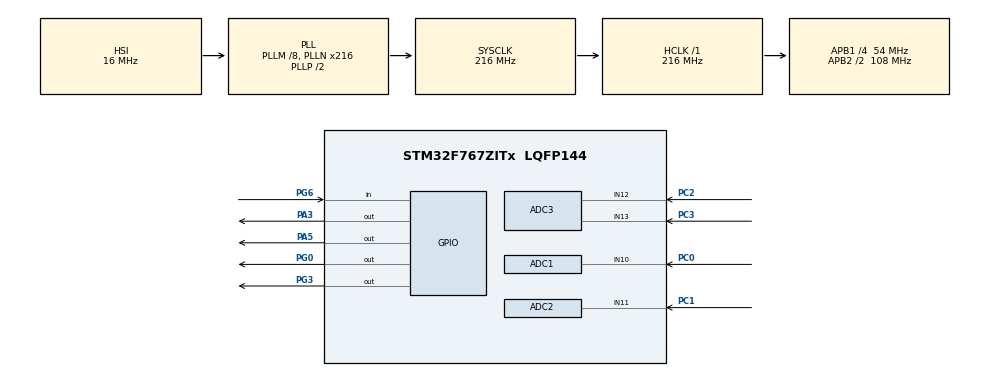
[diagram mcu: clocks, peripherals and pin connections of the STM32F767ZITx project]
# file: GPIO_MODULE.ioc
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ADC1.Channel-0\#ChannelRegularConversion=ADC_CHANNEL_10
ADC1.ClockPrescaler=ADC_CLOCK_SYNC_PCLK_DIV4
ADC1.NbrOfConversionFlag=1
ADC1.Rank-0\#ChannelRegularConversion=1
ADC1.SamplingTime-0\#ChannelRegularConversion=ADC_SAMPLETIME_3CYCLES
ADC1.master=1
ADC2.Channel-0\#ChannelRegularConversion=ADC_CHANNEL_11
ADC2.ClockPrescaler=ADC_CLOCK_SYNC_PCLK_DIV4
ADC2.NbrOfConversionFlag=1
ADC2.Rank-0\#ChannelRegularConversion=1
ADC2.SamplingTime-0\#ChannelRegularConversion=ADC_SAMPLETIME_3CYCLES
ADC3.Channel-0\#ChannelRegularConversion=ADC_CHANNEL_12
ADC3.ClockPrescaler=ADC_CLOCK_SYNC_PCLK_DIV4
ADC3.NbrOfConversionFlag=1
ADC3.Rank-0\#ChannelRegularConversion=1
ADC3.SamplingTime-0\#ChannelRegularConversion=ADC_SAMPLETIME_3CYCLES
Mcu.Family=STM32F7
Mcu.Name=STM32F767ZITx
Mcu.Package=LQFP144
NVIC.PriorityGroup=NVIC_PRIORITYGROUP_4
PA3.GPIO_ModeDefaultOutputPP=GPIO_MODE_OUTPUT_PP
PA3.PinState=GPIO_PIN_SET
PA3.Signal=GPIO_Output
PA5.PinState=GPIO_PIN_SET
PA5.Signal=GPIO_Output
PC0.Signal=ADCx_IN10
PC1.Signal=ADCx_IN11
PC2.Signal=ADCx_IN12
PC3.Signal=ADCx_IN13
PG0.PinState=GPIO_PIN_SET
PG0.Signal=GPIO_Output
PG3.PinState=GPIO_PIN_RESET
PG3.Signal=GPIO_Output
PG6.Signal=GPIO_Input
ProjectManager.HeapSize=0x200
ProjectManager.StackSize=0x400
ProjectManager.TargetToolchain=STM32CubeIDE
RCC.AHBFreq_Value=216000000
RCC.APB1CLKDivider=RCC_HCLK_DIV4
RCC.APB1Freq_Value=54000000
RCC.APB1TimFreq_Value=108000000
RCC.APB2CLKDivider=RCC_HCLK_DIV2
RCC.APB2Freq_Value=108000000
RCC.APB2TimFreq_Value=216000000
RCC.CortexFreq_Value=216000000
RCC.HCLKFreq_Value=216000000
RCC.HSE_VALUE=25000000
RCC.HSI_VALUE=16000000
RCC.LSE_VALUE=32768
RCC.PLLM=8
RCC.PLLN=216
RCC.SYSCLKFreq_VALUE=216000000
RCC.SYSCLKSource=RCC_SYSCLKSOURCE_PLLCLK
RCC.USBFreq_Value=216000000
RCC.VCOOutputFreq_Value=432000000
SH.ADCx_IN10.0=ADC1_IN10,IN10
SH.ADCx_IN11.0=ADC2_IN11,IN11
SH.ADCx_IN12.0=ADC3_IN12,IN12
SH.ADCx_IN13.0=ADC3_IN13,IN13
TIM10.Period=10000-1
TIM10.Prescaler=21600-1
VP_TIM10_VS_ClockSourceINT.Mode=Enable_Timer
board=custom

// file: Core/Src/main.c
/* USER CODE BEGIN Header */
/**
  ******************************************************************************
  * @file           : main.c
  * @brief          : Main program body
  ******************************************************************************
  * @attention
  *
  * Copyright (c) 2022 STMicroelectronics.
  * All rights reserved.
  *
  * This software is licensed under terms that can be found in the LICENSE file
  * in the root directory of this software component.
  * If no LICENSE file comes with this software, it is provided AS-IS.
  *
  ******************************************************************************
  */
/* USER CODE END Header */
#include "main.h"

/* USER CODE BEGIN PM */
#define HIGH 5
#define LOW 0

#define START_BUTTON_PORT GPIOG // Active Low
#define START_BUTTON_PIN GPIO_PIN_6

#define START_BUTTON_LED_EN_PORT GPIOA
#define START_BUTTON_LED_EN_PIN GPIO_PIN_5

#define BRAKE_LIGHT_PORT GPIOF
#define BRAKE_LIGHT_PIN GPIO_PIN_2

#define DEBUG_LED_PORT GPIOA
#define DEBUG_LED_PIN GPIO_PIN_3

#define START_SOUND_PORT GPIOG
#define START_SOUND_PIN GPIO_PIN_3
#define SOUND_TIME 3 // sound time in seconds
/* USER CODE END PM */

 ADC_HandleTypeDef hadc1;
ADC_HandleTypeDef hadc2;
ADC_HandleTypeDef hadc3;

TIM_HandleTypeDef htim10;

/* USER CODE BEGIN PV */
int timecount = 0;
int sound_time = SOUND_TIME;
/* USER CODE END PV */

void SystemClock_Config(void);
static void MX_GPIO_Init(void);
static void MX_ADC1_Init(void);
static void MX_ADC2_Init(void);
static void MX_ADC3_Init(void);
static void MX_TIM10_Init(void);
/* USER CODE BEGIN PFP */
int Start_Button(void); //input
int Start_LED(void); // output
int Brake_Light(void); // output
int Debug_LED(void); // output
void Start_Sound(void); // output

int *All_GPIO_Connections(void);
void Set_GPIO_Connections(int start_led, int brake_light, int debug_led);
/* USER CODE END PFP */

/* USER CODE BEGIN 0 */
int Start_Button(void)
{
	if( HAL_GPIO_ReadPin(START_BUTTON_PORT, START_BUTTON_PIN)) return LOW;
	else return HIGH;
}

int Start_LED(void)
{
	if( HAL_GPIO_ReadPin(START_BUTTON_LED_EN_PORT, START_BUTTON_LED_EN_PIN)) return HIGH;
	else return LOW;
}

int Brake_Light(void)
{
	if( HAL_GPIO_ReadPin(BRAKE_LIGHT_PORT, BRAKE_LIGHT_PIN)) return HIGH;
	else return LOW;
}

int Debug_LED(void)
{
	if( HAL_GPIO_ReadPin(DEBUG_LED_PORT, DEBUG_LED_PIN)) return HIGH;
	else return LOW;
}

int *All_GPIO_Connections(void) // creates pointer to array that contains all 3 GPIO input values
{
	int *vals = malloc(4);

	vals[0] = Start_Button();
	vals[1] = Start_LED();
	vals[2] = Brake_Light();
	vals[3] = Debug_LED();

	return vals;
}

void Set_GPIO_Connections(int start_led, int brake_light, int debug_led) // 1 is set, 0 is reset, 2 is do nothing (can be anything but I picked 2 to avoid ambiguity)
{
	if (start_led == 1) HAL_GPIO_WritePin (START_BUTTON_LED_EN_PORT, START_BUTTON_LED_EN_PIN, GPIO_PIN_SET);
	else if (start_led == 0) HAL_GPIO_WritePin (START_BUTTON_LED_EN_PORT, START_BUTTON_LED_EN_PIN, GPIO_PIN_RESET);
	else if (start_led == 2);

	if (brake_light == 1) HAL_GPIO_WritePin (BRAKE_LIGHT_PORT, BRAKE_LIGHT_PIN, GPIO_PIN_SET);
	else if (brake_light == 0) HAL_GPIO_WritePin (BRAKE_LIGHT_PORT, BRAKE_LIGHT_PIN, GPIO_PIN_RESET);
	else if (brake_light == 2);

	if (debug_led == 1) HAL_GPIO_WritePin (DEBUG_LED_PORT, DEBUG_LED_PIN, GPIO_PIN_SET);
	else if (debug_led == 0) HAL_GPIO_WritePin (DEBUG_LED_PORT, DEBUG_LED_PIN, GPIO_PIN_RESET);
	else if (debug_led == 2);
}

void Start_Sound(void)
{
	timecount = 0;
	HAL_GPIO_WritePin(START_SOUND_PORT, START_SOUND_PIN, GPIO_PIN_SET);
}
/* USER CODE END 0 */

int main(void)
{

  /* MCU Configuration--------------------------------------------------------*/

  /* Reset of all peripherals, Initializes the Flash interface and the Systick. */
  HAL_Init();

  /* Configure the system clock */
  SystemClock_Config();

  /* Initialize all configured peripherals */
  MX_GPIO_Init();
  MX_ADC1_Init();
  MX_ADC2_Init();
  MX_ADC3_Init();
  MX_TIM10_Init();
  /* USER CODE BEGIN 2 */
HAL_TIM_Base_Start_IT(&htim10);
  /* USER CODE END 2 */

  /* Infinite loop */
  while (1)
  {

  }
}

void SystemClock_Config(void)
{
  RCC_OscInitTypeDef RCC_OscInitStruct = {0};
  RCC_ClkInitTypeDef RCC_ClkInitStruct = {0};

  /** Configure the main internal regulator output voltage
  */
  __HAL_RCC_PWR_CLK_ENABLE();
  __HAL_PWR_VOLTAGESCALING_CONFIG(PWR_REGULATOR_VOLTAGE_SCALE1);

  /** Initializes the RCC Oscillators according to the specified parameters
  * in the RCC_OscInitTypeDef structure.
  */
  RCC_OscInitStruct.OscillatorType = RCC_OSCILLATORTYPE_HSI;
  RCC_OscInitStruct.HSIState = RCC_HSI_ON;
  RCC_OscInitStruct.HSICalibrationValue = RCC_HSICALIBRATION_DEFAULT;
  RCC_OscInitStruct.PLL.PLLState = RCC_PLL_ON;
  RCC_OscInitStruct.PLL.PLLSource = RCC_PLLSOURCE_HSI;
  RCC_OscInitStruct.PLL.PLLM = 8;
  RCC_OscInitStruct.PLL.PLLN = 216;
  RCC_OscInitStruct.PLL.PLLP = RCC_PLLP_DIV2;
  RCC_OscInitStruct.PLL.PLLQ = 2;
  RCC_OscInitStruct.PLL.PLLR = 2;
  if (HAL_RCC_OscConfig(&RCC_OscInitStruct) != HAL_OK)
  {
    Error_Handler();
  }

  /** Activate the Over-Drive mode
  */
  if (HAL_PWREx_EnableOverDrive() != HAL_OK)
  {
    Error_Handler();
  }

  /** Initializes the CPU, AHB and APB buses clocks
  */
  RCC_ClkInitStruct.ClockType = RCC_CLOCKTYPE_HCLK|RCC_CLOCKTYPE_SYSCLK
                              |RCC_CLOCKTYPE_PCLK1|RCC_CLOCKTYPE_PCLK2;
  RCC_ClkInitStruct.SYSCLKSource = RCC_SYSCLKSOURCE_PLLCLK;
  RCC_ClkInitStruct.AHBCLKDivider = RCC_SYSCLK_DIV1;
  RCC_ClkInitStruct.APB1CLKDivider = RCC_HCLK_DIV4;
  RCC_ClkInitStruct.APB2CLKDivider = RCC_HCLK_DIV2;

  if (HAL_RCC_ClockConfig(&RCC_ClkInitStruct, FLASH_LATENCY_7) != HAL_OK)
  {
    Error_Handler();
  }
}

static void MX_ADC1_Init(void)
{

  ADC_ChannelConfTypeDef sConfig = {0};

  /** Configure the global features of the ADC (Clock, Resolution, Data Alignment and number of conversion)
  */
  hadc1.Instance = ADC1;
  hadc1.Init.ClockPrescaler = ADC_CLOCK_SYNC_PCLK_DIV4;
  hadc1.Init.Resolution = ADC_RESOLUTION_12B;
  hadc1.Init.ScanConvMode = ADC_SCAN_DISABLE;
  hadc1.Init.ContinuousConvMode = DISABLE;
  hadc1.Init.DiscontinuousConvMode = DISABLE;
  hadc1.Init.ExternalTrigConvEdge = ADC_EXTERNALTRIGCONVEDGE_NONE;
  hadc1.Init.ExternalTrigConv = ADC_SOFTWARE_START;
  hadc1.Init.DataAlign = ADC_DATAALIGN_RIGHT;
  hadc1.Init.NbrOfConversion = 1;
  hadc1.Init.DMAContinuousRequests = DISABLE;
  hadc1.Init.EOCSelection = ADC_EOC_SINGLE_CONV;
  if (HAL_ADC_Init(&hadc1) != HAL_OK)
  {
    Error_Handler();
  }

  /** Configure for the selected ADC regular channel its corresponding rank in the sequencer and its sample time.
  */
  sConfig.Channel = ADC_CHANNEL_10;
  sConfig.Rank = ADC_REGULAR_RANK_1;
  sConfig.SamplingTime = ADC_SAMPLETIME_3CYCLES;
  if (HAL_ADC_ConfigChannel(&hadc1, &sConfig) != HAL_OK)
  {
    Error_Handler();
  }

}

static void MX_ADC2_Init(void)
{

  ADC_ChannelConfTypeDef sConfig = {0};

  /** Configure the global features of the ADC (Clock, Resolution, Data Alignment and number of conversion)
  */
  hadc2.Instance = ADC2;
  hadc2.Init.ClockPrescaler = ADC_CLOCK_SYNC_PCLK_DIV4;
  hadc2.Init.Resolution = ADC_RESOLUTION_12B;
  hadc2.Init.ScanConvMode = ADC_SCAN_DISABLE;
  hadc2.Init.ContinuousConvMode = DISABLE;
  hadc2.Init.DiscontinuousConvMode = DISABLE;
  hadc2.Init.ExternalTrigConvEdge = ADC_EXTERNALTRIGCONVEDGE_NONE;
  hadc2.Init.ExternalTrigConv = ADC_SOFTWARE_START;
  hadc2.Init.DataAlign = ADC_DATAALIGN_RIGHT;
  hadc2.Init.NbrOfConversion = 1;
  hadc2.Init.DMAContinuousRequests = DISABLE;
  hadc2.Init.EOCSelection = ADC_EOC_SINGLE_CONV;
  if (HAL_ADC_Init(&hadc2) != HAL_OK)
  {
    Error_Handler();
  }

  /** Configure for the selected ADC regular channel its corresponding rank in the sequencer and its sample time.
  */
  sConfig.Channel = ADC_CHANNEL_11;
  sConfig.Rank = ADC_REGULAR_RANK_1;
  sConfig.SamplingTime = ADC_SAMPLETIME_3CYCLES;
  if (HAL_ADC_ConfigChannel(&hadc2, &sConfig) != HAL_OK)
  {
    Error_Handler();
  }

}

static void MX_ADC3_Init(void)
{

  ADC_ChannelConfTypeDef sConfig = {0};

  /** Configure the global features of the ADC (Clock, Resolution, Data Alignment and number of conversion)
  */
  hadc3.Instance = ADC3;
  hadc3.Init.ClockPrescaler = ADC_CLOCK_SYNC_PCLK_DIV4;
  hadc3.Init.Resolution = ADC_RESOLUTION_12B;
  hadc3.Init.ScanConvMode = ADC_SCAN_DISABLE;
  hadc3.Init.ContinuousConvMode = DISABLE;
  hadc3.Init.DiscontinuousConvMode = DISABLE;
  hadc3.Init.ExternalTrigConvEdge = ADC_EXTERNALTRIGCONVEDGE_NONE;
  hadc3.Init.ExternalTrigConv = ADC_SOFTWARE_START;
  hadc3.Init.DataAlign = ADC_DATAALIGN_RIGHT;
  hadc3.Init.NbrOfConversion = 1;
  hadc3.Init.DMAContinuousRequests = DISABLE;
  hadc3.Init.EOCSelection = ADC_EOC_SINGLE_CONV;
  if (HAL_ADC_Init(&hadc3) != HAL_OK)
  {
    Error_Handler();
  }

  /** Configure for the selected ADC regular channel its corresponding rank in the sequencer and its sample time.
  */
  sConfig.Channel = ADC_CHANNEL_12;
  sConfig.Rank = ADC_REGULAR_RANK_1;
  sConfig.SamplingTime = ADC_SAMPLETIME_3CYCLES;
  if (HAL_ADC_ConfigChannel(&hadc3, &sConfig) != HAL_OK)
  {
    Error_Handler();
  }

}

static void MX_TIM10_Init(void)
{

  htim10.Instance = TIM10;
  htim10.Init.Prescaler = 21600-1;
  htim10.Init.CounterMode = TIM_COUNTERMODE_UP;
  htim10.Init.Period = 10000-1;
  htim10.Init.ClockDivision = TIM_CLOCKDIVISION_DIV1;
  htim10.Init.AutoReloadPreload = TIM_AUTORELOAD_PRELOAD_DISABLE;
  if (HAL_TIM_Base_Init(&htim10) != HAL_OK)
  {
    Error_Handler();
  }

}

static void MX_GPIO_Init(void)
{
  GPIO_InitTypeDef GPIO_InitStruct = {0};

  /* GPIO Ports Clock Enable */
  __HAL_RCC_GPIOC_CLK_ENABLE();
  __HAL_RCC_GPIOA_CLK_ENABLE();
  __HAL_RCC_GPIOG_CLK_ENABLE();

  /*Configure GPIO pin Output Level */
  HAL_GPIO_WritePin(GPIOA, GPIO_PIN_3|GPIO_PIN_5, GPIO_PIN_SET);

  /*Configure GPIO pin Output Level */
  HAL_GPIO_WritePin(GPIOG, GPIO_PIN_0, GPIO_PIN_SET);

  /*Configure GPIO pin Output Level */
  HAL_GPIO_WritePin(GPIOG, GPIO_PIN_3, GPIO_PIN_RESET);

  /*Configure GPIO pins : PA3 PA5 */
  GPIO_InitStruct.Pin = GPIO_PIN_3|GPIO_PIN_5;
  GPIO_InitStruct.Mode = GPIO_MODE_OUTPUT_PP;
  GPIO_InitStruct.Pull = GPIO_NOPULL;
  GPIO_InitStruct.Speed = GPIO_SPEED_FREQ_LOW;
  HAL_GPIO_Init(GPIOA, &GPIO_InitStruct);

  /*Configure GPIO pins : PG0 PG3 */
  GPIO_InitStruct.Pin = GPIO_PIN_0|GPIO_PIN_3;
  GPIO_InitStruct.Mode = GPIO_MODE_OUTPUT_PP;
  GPIO_InitStruct.Pull = GPIO_NOPULL;
  GPIO_InitStruct.Speed = GPIO_SPEED_FREQ_LOW;
  HAL_GPIO_Init(GPIOG, &GPIO_InitStruct);

  /*Configure GPIO pin : PG6 */
  GPIO_InitStruct.Pin = GPIO_PIN_6;
  GPIO_InitStruct.Mode = GPIO_MODE_INPUT;
  GPIO_InitStruct.Pull = GPIO_NOPULL;
  HAL_GPIO_Init(GPIOG, &GPIO_InitStruct);

}

/* USER CODE BEGIN 4 */
void HAL_TIM_PeriodElapsedCallback(TIM_HandleTypeDef *htim)
{
	if(htim == &htim10) // should occur every second
	{
		time_count  = time_count + 1;
		if(time_count >= sound_time)
		{
			HAL_GPIO_WritePin(START_SOUND_PORT, START_SOUND_PIN, GPIO_PIN_RESET);
		}
	}
}
/* USER CODE END 4 */

void Error_Handler(void)
{
  __disable_irq();
  while (1)
  {
  }
}
